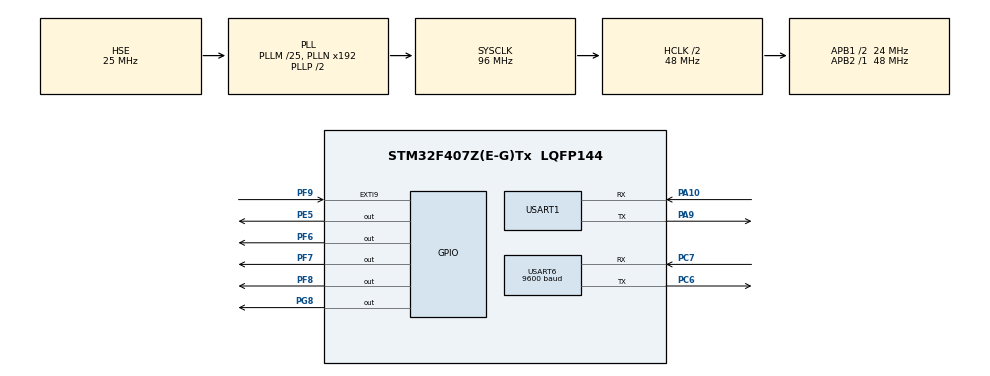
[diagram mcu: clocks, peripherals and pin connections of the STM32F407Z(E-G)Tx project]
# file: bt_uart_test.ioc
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Mcu.Family=STM32F4
Mcu.Name=STM32F407Z(E-G)Tx
Mcu.Package=LQFP144
NVIC.PriorityGroup=NVIC_PRIORITYGROUP_4
NVIC.RCC_IRQn=true\:0\:0\:false\:false\:true\:true\:false
NVIC.USART1_IRQn=true\:0\:0\:false\:false\:true\:true\:true
NVIC.USART6_IRQn=true\:0\:0\:false\:false\:true\:true\:true
PA10.Mode=Asynchronous
PA10.Signal=USART1_RX
PA13.Mode=Serial_Wire
PA13.Signal=SYS_JTMS-SWDIO
PA14.Mode=Serial_Wire
PA14.Signal=SYS_JTCK-SWCLK
PA9.Mode=Asynchronous
PA9.Signal=USART1_TX
PC14-OSC32_IN.Mode=LSE-External-Oscillator
PC14-OSC32_IN.Signal=RCC_OSC32_IN
PC15-OSC32_OUT.Mode=LSE-External-Oscillator
PC15-OSC32_OUT.Signal=RCC_OSC32_OUT
PC6.Mode=Asynchronous
PC6.Signal=USART6_TX
PC7.Mode=Asynchronous
PC7.Signal=USART6_RX
PE5.PinState=GPIO_PIN_SET
PE5.Signal=GPIO_Output
PF6.Signal=GPIO_Output
PF7.Signal=GPIO_Output
PF8.Signal=GPIO_Output
PF9.GPIO_PuPd=GPIO_PULLUP
PF9.Signal=GPXTI9
PG8.PinState=GPIO_PIN_SET
PG8.Signal=GPIO_Output
PH0-OSC_IN.Mode=HSE-External-Oscillator
PH0-OSC_IN.Signal=RCC_OSC_IN
PH1-OSC_OUT.Mode=HSE-External-Oscillator
PH1-OSC_OUT.Signal=RCC_OSC_OUT
ProjectManager.HeapSize=0x200
ProjectManager.StackSize=0x400
ProjectManager.TargetToolchain=TrueSTUDIO
RCC.48MHZClocksFreq_Value=48000000
RCC.AHBCLKDivider=RCC_SYSCLK_DIV2
RCC.AHBFreq_Value=48000000
RCC.APB1CLKDivider=RCC_HCLK_DIV2
RCC.APB1Freq_Value=24000000
RCC.APB1TimFreq_Value=48000000
RCC.APB2Freq_Value=48000000
RCC.APB2TimFreq_Value=48000000
RCC.CortexFreq_Value=48000000
RCC.HCLKFreq_Value=48000000
RCC.HSE_VALUE=25000000
RCC.HSI_VALUE=16000000
RCC.PLLM=25
RCC.PLLSourceVirtual=RCC_PLLSOURCE_HSE
RCC.SYSCLKFreq_VALUE=96000000
RCC.SYSCLKSource=RCC_SYSCLKSOURCE_PLLCLK
RCC.VCOOutputFreq_Value=192000000
USART1.VirtualMode=VM_ASYNC
USART6.BaudRate=9600
USART6.VirtualMode=VM_ASYNC
board=custom

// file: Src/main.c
/* USER CODE BEGIN Header */
/**
  ******************************************************************************
  * @file           : main.c
  * @brief          : Main program body
  ******************************************************************************
  * @attention
  *
  * <h2><center>&copy; Copyright (c) 2019 STMicroelectronics.
  * All rights reserved.</center></h2>
  *
  * This software component is licensed by ST under BSD 3-Clause license,
  * the "License"; You may not use this file except in compliance with the
  * License. You may obtain a copy of the License at:
  *                        opensource.org/licenses/BSD-3-Clause
  *
  ******************************************************************************
  */
/* USER CODE END Header */

#include "main.h"
#include "usart.h"
#include "gpio.h"

/* USER CODE BEGIN Includes */
#include <stdio.h>
#include <string.h>
#include "uart6_test.h"
//#include "uart6_test.c"
/* USER CODE END Includes */

/* USER CODE BEGIN PM */
#define UART_RXBUFFERSIZE     100
/* USER CODE END PM */

/* USER CODE BEGIN PV */
uint8_t g_Uart_RxBuffer[UART_RXBUFFERSIZE];
uint8_t g_Uart_6_Com_RxBuffer[UART_RXBUFFERSIZE];
/* USER CODE END PV */

void SystemClock_Config(void);
/* USER CODE BEGIN PFP */
#ifdef __GNUC__
#define PUTCHAR_PROTOTYPE int __io_putchar(int ch)
#else
#define PUTCHAR_PROTOTYPE int fputc(int ch, FILE *f)
#endif
PUTCHAR_PROTOTYPE
{

    if('\n' == ch)
    {
        int ch_tmp = '\r';

        HAL_UART_Transmit(&huart1, (uint8_t *)&ch_tmp, 1, 0xFFFF);
    }

    HAL_UART_Transmit(&huart1, (uint8_t *)&ch, 1, 0xFFFF);

    return ch;
}
/* USER CODE END PFP */

int main(void)
{

  /* MCU Configuration--------------------------------------------------------*/

  /* Reset of all peripherals, Initializes the Flash interface and the Systick. */
  HAL_Init();

  /* Configure the system clock */
  SystemClock_Config();

  /* Initialize all configured peripherals */
  MX_GPIO_Init();
  MX_USART1_UART_Init();
  MX_USART6_UART_Init();
  /* USER CODE BEGIN 2 */
  if(HAL_UART_Receive_IT(&huart1, g_Uart_RxBuffer, UART_RXBUFFERSIZE) != HAL_OK)
  {
	Error_Handler();
  }
  if(HAL_UART_Receive_IT(&huart6, g_Uart_6_Com_RxBuffer, UART_RXBUFFERSIZE) != HAL_OK)
  {
      Error_Handler();
  }

  HAL_GPIO_WritePin(GPIOE, GPIO_PIN_5, GPIO_PIN_SET);
  HAL_GPIO_WritePin(GPIOG, GPIO_PIN_8, GPIO_PIN_SET);

  printf("printf test\n");
  HAL_UART_Transmit(&huart6, (uint8_t *)"test", strlen("test"), 0xFFFF);
  /* USER CODE END 2 */

  /* Infinite loop */
  while (1)
  {

	  /* USER CODE BEGIN 3 */
	  printf("serial test\n");
	  UART6_Test();
  }
  /* USER CODE END 3 */
}

void SystemClock_Config(void)
{
  RCC_OscInitTypeDef RCC_OscInitStruct = {0};
  RCC_ClkInitTypeDef RCC_ClkInitStruct = {0};

  /** Configure the main internal regulator output voltage
  */
  __HAL_RCC_PWR_CLK_ENABLE();
  __HAL_PWR_VOLTAGESCALING_CONFIG(PWR_REGULATOR_VOLTAGE_SCALE1);
  /** Initializes the CPU, AHB and APB busses clocks
  */
  RCC_OscInitStruct.OscillatorType = RCC_OSCILLATORTYPE_HSE;
  RCC_OscInitStruct.HSEState = RCC_HSE_ON;
  RCC_OscInitStruct.PLL.PLLState = RCC_PLL_ON;
  RCC_OscInitStruct.PLL.PLLSource = RCC_PLLSOURCE_HSE;
  RCC_OscInitStruct.PLL.PLLM = 25;
  RCC_OscInitStruct.PLL.PLLN = 192;
  RCC_OscInitStruct.PLL.PLLP = RCC_PLLP_DIV2;
  RCC_OscInitStruct.PLL.PLLQ = 4;
  if (HAL_RCC_OscConfig(&RCC_OscInitStruct) != HAL_OK)
  {
    Error_Handler();
  }
  /** Initializes the CPU, AHB and APB busses clocks
  */
  RCC_ClkInitStruct.ClockType = RCC_CLOCKTYPE_HCLK|RCC_CLOCKTYPE_SYSCLK
                              |RCC_CLOCKTYPE_PCLK1|RCC_CLOCKTYPE_PCLK2;
  RCC_ClkInitStruct.SYSCLKSource = RCC_SYSCLKSOURCE_PLLCLK;
  RCC_ClkInitStruct.AHBCLKDivider = RCC_SYSCLK_DIV2;
  RCC_ClkInitStruct.APB1CLKDivider = RCC_HCLK_DIV2;
  RCC_ClkInitStruct.APB2CLKDivider = RCC_HCLK_DIV1;

  if (HAL_RCC_ClockConfig(&RCC_ClkInitStruct, FLASH_LATENCY_1) != HAL_OK)
  {
    Error_Handler();
  }
}

void Error_Handler(void)
{
}

/************************ (C) COPYRIGHT STMicroelectronics *****END OF FILE****/
